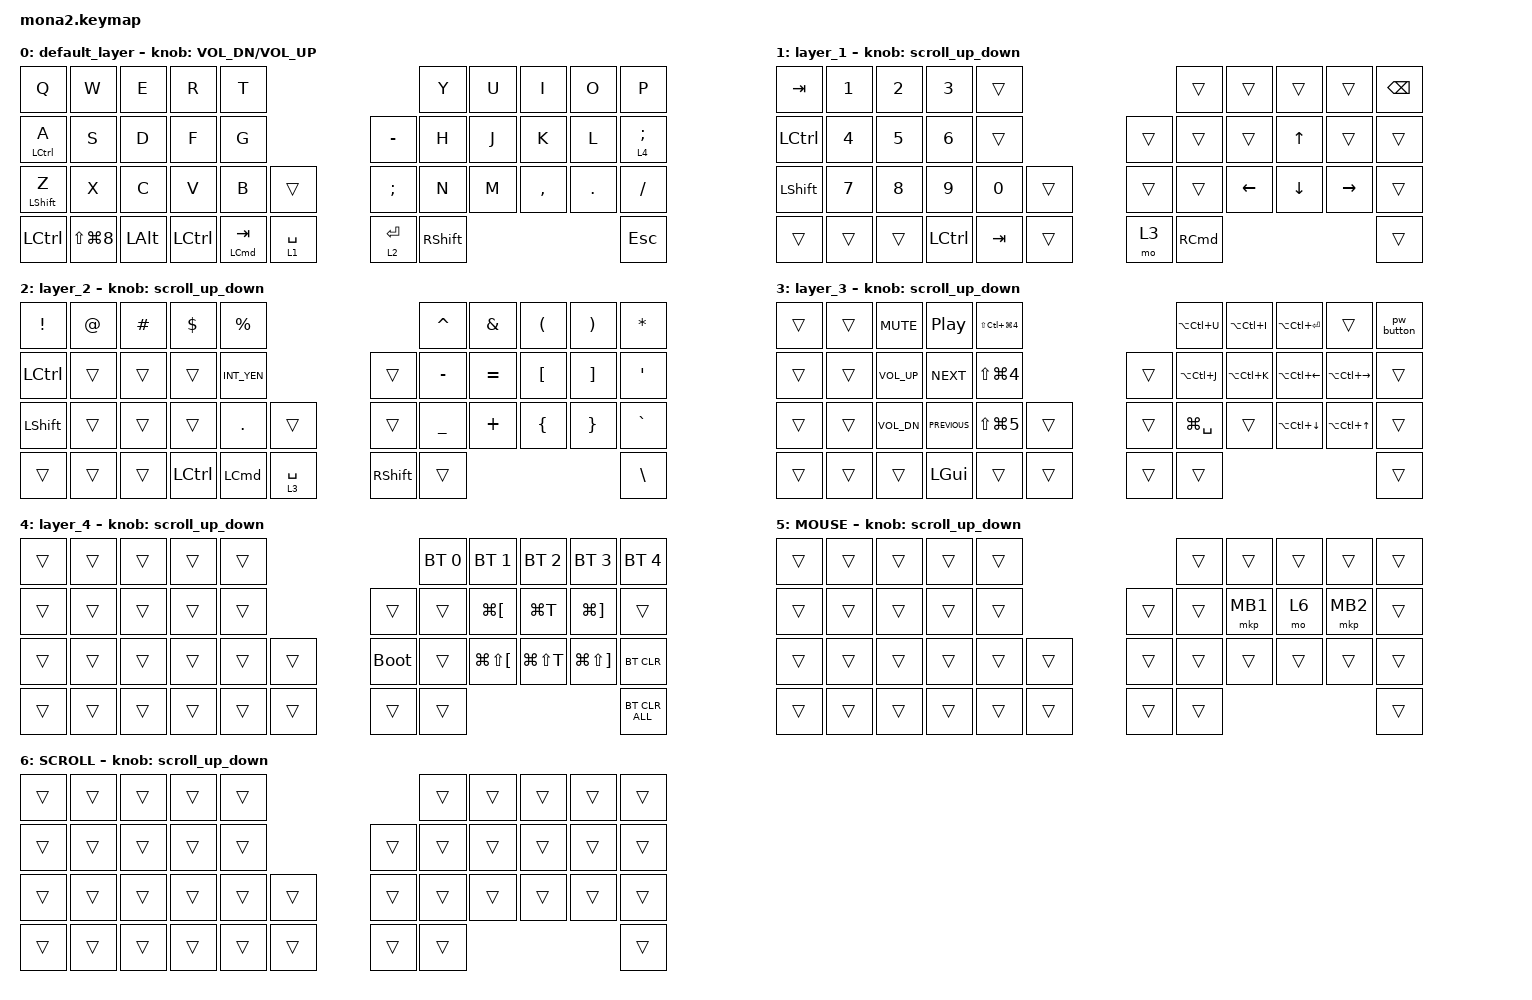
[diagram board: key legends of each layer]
#include <input/processors.dtsi>
#include <dt-bindings/zmk/input_transform.h>
#include <zephyr/dt-bindings/input/input-event-codes.h>
#include <behaviors.dtsi>
#include <dt-bindings/zmk/bt.h>
#include <dt-bindings/zmk/keys.h>
#include <dt-bindings/zmk/pointing.h>

#define ZMK_POINTING_DEFAULT_SCRL_VAL 100
#define MOUSE 5
#define SCROLL 6

&mt {
    flavor = "balanced";
    quick-tap-ms = <0>;
};

&lt {
    quick-tap-ms = <300>;
    flavor = "balanced";
};

/ {
    combos { compatible = "zmk,combos"; };

    macros {
        pw_button: pw_button {
            compatible = "zmk,behavior-macro";
            #binding-cells = <0>;
            bindings = <&kp LS(M) &kp A &kp D &kp O &kp M &kp A &kp D &kp O &kp UNDER &kp N0 &kp N3 &kp N1 &kp N3 &kp RET>;
            label = "PW_BUTTON";
        };
    };

    behaviors {
        lt_to_layer_0: lt_to_layer_0 {
            compatible = "zmk,behavior-hold-tap";
            label = "LAYER_TAP_TO_0";
            bindings = <&mo>, <&pw_button>;

            #binding-cells = <2>;
            tapping-term-ms = <200>;
        };

        scroll_up_down: behavior_sensor_rotate_mouse_wheel_up_down {
            compatible = "zmk,behavior-sensor-rotate";
            #sensor-binding-cells = <0>;
            bindings = <&msc SCRL_UP>, <&msc SCRL_DOWN>;

            tap-ms = <20>;
        };

        scroll_right_left: mouse_wheel_right_left {
            compatible = "zmk,behavior-sensor-rotate";
            #sensor-binding-cells = <0>;
            bindings = <&msc SCRL_LEFT>, <&msc SCRL_RIGHT>;

            tap-ms = <20>;
        };
    };

    keymap {
        compatible = "zmk,keymap";

        default_layer {
            bindings = <
&kp Q             &kp W           &kp E         &kp R      &kp T                                               &kp Y            &kp U  &kp I      &kp O    &kp P
&mt LCTRL A       &kp S           &kp D         &kp F      &kp G                                &kp MINUS      &kp H            &kp J  &kp K      &kp L    &lt 4 SEMICOLON
&mt LEFT_SHIFT Z  &kp X           &kp C         &kp V      &kp B                 &trans         &kp SEMICOLON  &kp N            &kp M  &kp COMMA  &kp DOT  &kp SLASH
&kp LCTRL         &kp LS(LG(N8))  &kp LEFT_ALT  &kp LCTRL  &mt LEFT_COMMAND TAB  &lt 1 SPACE    &lt 2 ENTER    &kp RIGHT_SHIFT                             &kp ESCAPE
            >;

            sensor-bindings = <&inc_dec_kp C_VOL_DN C_VOL_UP>;
        };

        layer_1 {
            bindings = <
&kp TAB         &kp NUMBER_1  &kp NUMBER_2  &kp NUMBER_3  &trans                          &trans             &trans    &trans        &trans     &kp BACKSPACE
&kp LCTRL       &kp NUMBER_4  &kp NUMBER_5  &kp NUMBER_6  &trans                  &trans  &trans             &trans    &kp UP_ARROW  &trans     &trans
&kp LEFT_SHIFT  &kp NUMBER_7  &kp NUMBER_8  &kp NUMBER_9  &kp NUMBER_0  &trans    &trans  &trans             &kp LEFT  &kp DOWN      &kp RIGHT  &trans
&trans          &trans        &trans        &kp LCTRL     &kp TAB       &trans    &mo 3   &kp RIGHT_COMMAND                                     &trans
            >;

            sensor-bindings = <&scroll_up_down>;
        };

        layer_2 {
            bindings = <
&kp EXCLAMATION  &kp AT_SIGN  &kp HASH  &kp DOLLAR  &kp PERCENT                                       &kp CARET       &kp AMPERSAND  &kp LEFT_PARENTHESIS  &kp RIGHT_PARENTHESIS  &kp ASTERISK
&kp LCTRL        &trans       &trans    &trans      &kp INT_YEN                      &trans           &kp MINUS       &kp EQUAL      &kp LEFT_BRACKET      &kp RIGHT_BRACKET      &kp SQT
&kp LEFT_SHIFT   &trans       &trans    &trans      &kp PERIOD        &trans         &trans           &kp UNDERSCORE  &kp PLUS       &kp LEFT_BRACE        &kp RIGHT_BRACE        &kp GRAVE
&trans           &trans       &trans    &kp LCTRL   &kp LEFT_COMMAND  &lt 3 SPACE    &kp RIGHT_SHIFT  &trans                                                                      &kp BACKSLASH
            >;

            sensor-bindings = <&scroll_up_down>;
        };

        layer_3 {
            bindings = <
&trans  &trans  &kp K_MUTE    &kp C_PLAY_PAUSE  &kp LS(LC(LG(NUMBER_4)))                    &kp LA(LC(U))  &kp LA(LC(I))  &kp LA(LC(ENTER))  &trans             &pw_button
&trans  &trans  &kp C_VOL_UP  &kp C_NEXT        &kp LS(LG(NUMBER_4))                &trans  &kp LA(LC(J))  &kp LA(LC(K))  &kp LA(LC(LEFT))   &kp LA(LC(RIGHT))  &trans
&trans  &trans  &kp C_VOL_DN  &kp C_PREVIOUS    &kp LS(LG(NUMBER_5))      &trans    &trans  &kp LG(SPACE)  &trans         &kp LA(LC(DOWN))   &kp LA(LC(UP))     &trans
&trans  &trans  &trans        &kp LEFT_GUI      &trans                    &trans    &trans  &trans                                                              &trans
            >;

            sensor-bindings = <&scroll_up_down>;
        };

        layer_4 {
            bindings = <
&trans  &trans  &trans  &trans  &trans                         &bt BT_SEL 0  &bt BT_SEL 1              &bt BT_SEL 2   &bt BT_SEL 3               &bt BT_SEL 4
&trans  &trans  &trans  &trans  &trans            &trans       &trans        &kp LG(LEFT_BRACKET)      &kp LG(T)      &kp LG(RIGHT_BRACKET)      &trans
&trans  &trans  &trans  &trans  &trans  &trans    &bootloader  &trans        &kp LG(LS(LEFT_BRACKET))  &kp LG(LS(T))  &kp LG(LS(RIGHT_BRACKET))  &bt BT_CLR
&trans  &trans  &trans  &trans  &trans  &trans    &trans       &trans                                                                            &bt BT_CLR_ALL
            >;

            sensor-bindings = <&scroll_up_down>;
        };

        MOUSE {
            bindings = <
&trans  &trans  &trans  &trans  &trans                    &trans  &trans    &trans  &trans    &trans
&trans  &trans  &trans  &trans  &trans            &trans  &trans  &mkp MB1  &mo 6   &mkp MB2  &trans
&trans  &trans  &trans  &trans  &trans  &trans    &trans  &trans  &trans    &trans  &trans    &trans
&trans  &trans  &trans  &trans  &trans  &trans    &trans  &trans                              &trans
            >;

            sensor-bindings = <&scroll_up_down>;
        };

        SCROLL {
            bindings = <
&trans  &trans  &trans  &trans  &trans                    &trans  &trans  &trans  &trans  &trans
&trans  &trans  &trans  &trans  &trans            &trans  &trans  &trans  &trans  &trans  &trans
&trans  &trans  &trans  &trans  &trans  &trans    &trans  &trans  &trans  &trans  &trans  &trans
&trans  &trans  &trans  &trans  &trans  &trans    &trans  &trans                          &trans
            >;

            sensor-bindings = <&scroll_up_down>;
        };
    };
};
